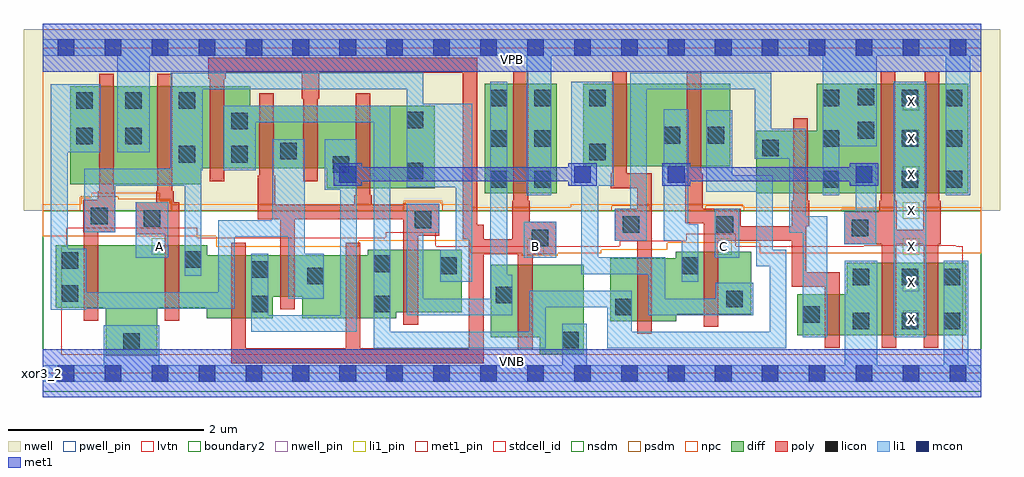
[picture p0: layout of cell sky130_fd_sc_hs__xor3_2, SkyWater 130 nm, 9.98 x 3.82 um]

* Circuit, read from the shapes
.subckt sky130_fd_sc_hs__xor3_2 A B C VGND VNB VPB VPWR X
XM1 VGND n1 n2 VNB sky130_fd_pr__nfet_01v8_lvt w=0.64 l=0.15
XM2 n1 A VGND VNB sky130_fd_pr__nfet_01v8_lvt w=0.64 l=0.15
XM3 n3 B n1 VNB sky130_fd_pr__nfet_01v8_lvt w=0.64 l=0.15
XM4 n2 n4 n3 VNB sky130_fd_pr__nfet_01v8_lvt w=0.42 l=0.15
XM5 n5 B n2 VNB sky130_fd_pr__nfet_01v8_lvt w=0.64 l=0.15
XM6 n1 n4 n5 VNB sky130_fd_pr__nfet_01v8_lvt w=0.64 l=0.15
XM7 VGND B n4 VNB sky130_fd_pr__nfet_01v8_lvt w=0.74 l=0.15
XM8 n6 n7 n5 VNB sky130_fd_pr__nfet_01v8_lvt w=0.64 l=0.15
XM9 n3 C n6 VNB sky130_fd_pr__nfet_01v8_lvt w=0.64 l=0.15
XM10 VGND C n7 VNB sky130_fd_pr__nfet_01v8_lvt w=0.42 l=0.15
XM11 X n6 VGND VNB sky130_fd_pr__nfet_01v8_lvt w=0.74 l=0.15 m=2
XM12 VPWR n1 n2 VPB sky130_fd_pr__pfet_01v8 w=1 l=0.15
XM13 n1 A VPWR VPB sky130_fd_pr__pfet_01v8 w=1 l=0.15
XM14 n5 B n1 VPB sky130_fd_pr__pfet_01v8 w=0.84 l=0.15
XM15 n2 n4 n5 VPB sky130_fd_pr__pfet_01v8 w=0.64 l=0.15
XM16 n3 B n2 VPB sky130_fd_pr__pfet_01v8 w=0.64 l=0.15
XM17 n1 n4 n3 VPB sky130_fd_pr__pfet_01v8 w=0.84 l=0.15
XM18 VPWR B n4 VPB sky130_fd_pr__pfet_01v8 w=1.12 l=0.15
XM19 n6 n7 n3 VPB sky130_fd_pr__pfet_01v8 w=0.84 l=0.15
XM20 n5 C n6 VPB sky130_fd_pr__pfet_01v8 w=0.84 l=0.15
XM21 VPWR C n7 VPB sky130_fd_pr__pfet_01v8 w=0.64 l=0.15
XM22 X n6 VPWR VPB sky130_fd_pr__pfet_01v8 w=1.12 l=0.15 m=2
.ends

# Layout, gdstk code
import gdstk
lib = gdstk.Library(unit=1e-6, precision=1e-09)
def R(c, l, rs):  # rectangles x0, y0, x1, y1
    for r in rs: c.add(gdstk.rectangle(r[:2], r[2:], *l))
def A(c, l, x, y, w, h, nx, ny, dx, dy):  # array of equal rectangles
    R(c, l, [(x+i*dx, y+j*dy, x+i*dx+w, y+j*dy+h) for i in range(nx) for j in range(ny)])
def P(c, l, *ps):  # polygons
    for p in ps: c.add(gdstk.Polygon(p, *l))
nwell_pin = (64, 16)
nwell = (64, 20)
diff = (65, 20)
poly = (66, 20)
licon = (66, 44)
li1_pin = (67, 16)
li1 = (67, 20)
mcon = (67, 44)
met1_pin = (68, 16)
met1 = (68, 20)
stdcell_id = (81, 4)
nsdm = (93, 44)
psdm = (94, 20)
npc = (95, 20)
pwell_pin = (122, 16)
lvtn = (125, 44)
boundary2 = (236, 0)

sky130_fd_sc_hs__xor3_2 = lib.new_cell('sky130_fd_sc_hs__xor3_2')
R(sky130_fd_sc_hs__xor3_2, nwell_pin, [(0,3.085,9.6,3.33)])
R(sky130_fd_sc_hs__xor3_2, nwell, [(-0.19,1.66,9.79,3.52)])
R(sky130_fd_sc_hs__xor3_2, diff, [(4.52,1.84,5.26,2.96), (5.53,2.12,7.03,2.96)])
P(sky130_fd_sc_hs__xor3_2, diff, [(4.01,2.735),(2.125,2.735),(2.125,2.935),(0.285,2.935),(0.285,1.935),(1.62,1.935),(1.62,2.095),(2.905,2.095),(2.905,1.895),(4.01,1.895)],
  [(4.285,1.265),(3.325,1.265),(3.325,1.205),(1.685,1.205),(1.685,1.31),(0.135,1.31),(0.135,0.67),(0.645,0.67),(0.645,0.18),(1.175,0.18),(1.175,0.67),(1.68,0.67),(1.68,0.565),(2.355,0.565),(2.355,0.785),(2.655,0.785),(2.655,0.565),(3.615,0.565),(3.615,0.625),(4.285,0.625)],
  [(5.535,1.11),(4.585,1.11),(4.585,0.37),(5.085,0.37),(5.085,0.195),(5.535,0.195)],
  [(7.245,1.245),(6.475,1.245),(6.475,1.175),(5.805,1.175),(5.805,0.535),(6.48,0.535),(6.48,0.605),(7.245,0.605)],
  [(9.445,1.13),(8.225,1.13),(8.225,0.81),(7.715,0.81),(7.715,0.39),(9.445,0.39)],
  [(9.465,2.96),(7.915,2.96),(7.915,2.48),(7.3,2.48),(7.3,1.84),(9.465,1.84)])
P(sky130_fd_sc_hs__xor3_2, poly, [(9.185,1.765),(9.17,1.765),(9.17,3.09),(9.02,3.09),(9.02,1.765),(9.005,1.765),(9.005,1.47),(8.735,1.47),(8.735,1.765),(8.72,1.765),(8.72,3.09),(8.57,3.09),(8.57,1.765),(8.555,1.765),(8.555,1.65),(8.195,1.65),(8.195,1.32),(8.58,1.32),(8.58,0.26),(8.73,0.26),(8.73,1.32),(9.01,1.32),(9.01,0.26),(9.16,0.26),(9.16,1.32),(9.185,1.32)],
  [(8.15,1.035),(7.81,1.035),(7.81,1.505),(7.84,1.505),(7.84,1.765),(7.825,1.765),(7.825,2.61),(7.675,2.61),(7.675,1.765),(7.66,1.765),(7.66,1.505),(7.14,1.505),(7.14,1.685),(6.75,1.685),(6.75,2.045),(6.735,2.045),(6.735,3.09),(6.585,3.09),(6.585,2.045),(6.57,2.045),(6.57,1.535),(6.76,1.535),(6.76,0.475),(6.91,0.475),(6.91,1.355),(7.66,1.355),(7.66,0.885),(8,0.885),(8,0.26),(8.15,0.26)],
  [(6.23,2.045),(5.975,2.045),(5.975,3.09),(5.825,3.09),(5.825,2.045),(5.81,2.045),(5.81,1.895),(6.08,1.895),(6.08,1.685),(5.85,1.685),(5.85,1.355),(6.08,1.355),(6.08,0.405),(6.23,0.405)],
  [(5.25,1.55),(4.98,1.55),(4.98,1.765),(4.965,1.765),(4.965,3.09),(4.815,3.09),(4.815,1.765),(4.8,1.765),(4.8,1.37),(4.51,1.37),(4.51,1.52),(4.445,1.52),(4.445,3.225),(1.695,3.225),(1.695,3.01),(1.71,3.01),(1.71,1.965),(1.86,1.965),(1.86,3.01),(1.875,3.01),(1.875,3.075),(2.65,3.075),(2.65,2.81),(2.665,2.81),(2.665,1.965),(2.815,1.965),(2.815,2.81),(2.83,2.81),(2.83,3.075),(4.295,3.075),(4.295,1.37),(4.36,1.37),(4.36,0.255),(3.25,0.255),(3.25,1.335),(3.1,1.335),(3.1,0.255),(2.08,0.255),(2.08,1.335),(1.93,1.335),(1.93,0.105),(4.51,0.105),(4.51,1.22),(4.86,1.22),(4.86,0.24),(5.01,0.24),(5.01,1.22),(5.25,1.22)],
  [(4.055,1.735),(3.69,1.735),(3.69,1.725),(3.365,1.725),(3.365,1.82),(3.35,1.82),(3.35,2.865),(3.2,2.865),(3.2,1.82),(3.185,1.82),(3.185,1.725),(2.38,1.725),(2.38,2.02),(2.365,2.02),(2.365,2.865),(2.215,2.865),(2.215,2.02),(2.2,2.02),(2.2,1.575),(2.43,1.575),(2.43,0.655),(2.58,0.655),(2.58,1.575),(3.69,1.575),(3.69,0.495),(3.84,0.495),(3.84,1.405),(4.055,1.405)],
  [(1.4,1.75),(1.34,1.75),(1.34,1.86),(1.325,1.86),(1.325,3.065),(1.175,3.065),(1.175,1.86),(1.16,1.86),(1.16,1.75),(0.955,1.75),(0.955,1.42),(1.25,1.42),(1.25,0.54),(1.4,0.54)],
  [(0.745,1.86),(0.73,1.86),(0.73,3.065),(0.58,3.065),(0.58,1.86),(0.565,1.86),(0.565,1.775),(0.415,1.775),(0.415,1.445),(0.42,1.445),(0.42,0.54),(0.57,0.54),(0.57,1.445),(0.745,1.445)])
A(sky130_fd_sc_hs__xor3_2, licon, 4.58, 1.9, 0.17, 0.17, 1, 3, 0, 0.415)
A(sky130_fd_sc_hs__xor3_2, licon, 5.03, 1.9, 0.17, 0.17, 1, 3, 0, 0.415)
A(sky130_fd_sc_hs__xor3_2, licon, 7.975, 1.9, 0.17, 0.17, 1, 3, 0, 0.415)
A(sky130_fd_sc_hs__xor3_2, licon, 8.785, 1.9, 0.17, 0.17, 1, 3, 0, 0.415)
A(sky130_fd_sc_hs__xor3_2, licon, 9.235, 1.9, 0.17, 0.17, 1, 3, 0, 0.415)
R(sky130_fd_sc_hs__xor3_2, licon, [(0.825,0.24,0.995,0.41), (5.315,0.255,5.485,0.425), (8.285,0.45,8.455,0.62), (8.785,0.45,8.955,0.62), (9.215,0.45,9.385,0.62), (7.775,0.515,7.945,0.685), (5.855,0.595,6.025,0.765), (2.135,0.625,2.305,0.795), (3.385,0.625,3.555,0.795), (6.99,0.675,7.16,0.845), (4.635,0.715,4.805,0.885), (0.195,0.73,0.365,0.9), (8.285,0.9,8.455,1.07), (8.785,0.9,8.955,1.07), (9.215,0.9,9.385,1.07), (2.705,0.91,2.875,1.08), (2.135,0.975,2.305,1.145), (4.065,1.015,4.235,1.185), (6.535,1.015,6.705,1.185), (3.385,1.035,3.555,1.205), (0.195,1.07,0.365,1.24), (1.455,1.08,1.625,1.25), (5,1.3,5.17,1.47), (8.275,1.4,8.445,1.57), (5.93,1.435,6.1,1.605), (6.89,1.435,7.06,1.605), (3.805,1.485,3.975,1.655), (1.035,1.5,1.205,1.67), (0.495,1.525,0.665,1.695), (3.725,1.985,3.895,2.155), (2.965,2.05,3.135,2.22), (1.39,2.155,1.56,2.325), (1.93,2.155,2.1,2.325), (5.59,2.18,5.76,2.35), (2.43,2.19,2.6,2.36), (7.36,2.22,7.53,2.39), (0.345,2.34,0.515,2.51), (0.845,2.34,1.015,2.51), (6.35,2.35,6.52,2.52), (6.8,2.35,6.97,2.52), (8.335,2.4,8.505,2.57), (1.93,2.495,2.1,2.665), (3.725,2.505,3.895,2.675), (0.345,2.705,0.515,2.875), (0.845,2.705,1.015,2.875), (1.39,2.705,1.56,2.875), (5.59,2.73,5.76,2.9), (8.335,2.74,8.505,2.91)])
A(sky130_fd_sc_hs__xor3_2, li1_pin, 4.955, 1.21, 0.17, 0.17, 3, 1, 1.92, 0)
A(sky130_fd_sc_hs__xor3_2, li1_pin, 8.795, 1.58, 0.17, 0.17, 1, 4, 0, 0.37)
R(sky130_fd_sc_hs__xor3_2, li1_pin, [(8.795,0.47,8.965,0.64), (8.795,0.84,8.965,1.01), (1.115,1.21,1.285,1.38)])
R(sky130_fd_sc_hs__xor3_2, li1, [(8.705,0.37,9.035,2.98), (0.955,1.18,1.285,1.75), (4.92,1.18,5.25,1.55), (6.875,1.18,7.125,1.685)])
P(sky130_fd_sc_hs__xor3_2, li1, [(0,-0.085),(0,0.085),(0.625,0.085),(0.625,0.49),(1.195,0.49),(1.195,0.085),(5.315,0.085),(5.315,0.505),(5.565,0.505),(5.565,0.085),(8.205,0.085),(8.205,1.15),(8.535,1.15),(8.535,0.085),(9.215,0.085),(9.215,1.15),(9.465,1.15),(9.465,0.085),(9.6,0.085),(9.6,-0.085)],
  [(9.6,3.415),(0,3.415),(0,3.245),(0.765,3.245),(0.765,2.26),(1.095,2.26),(1.095,3.245),(4.95,3.245),(4.95,1.82),(5.2,1.82),(5.2,3.245),(7.975,3.245),(7.975,1.82),(8.145,1.82),(8.145,2.32),(8.53,2.32),(8.53,3.245),(9.235,3.245),(9.235,1.82),(9.485,1.82),(9.485,3.245),(9.6,3.245)],
  [(3.895,3.075),(3.895,2.755),(4.395,2.755),(4.395,0.935),(4.065,0.935),(4.065,1.265),(4.225,1.265),(4.225,1.905),(3.725,1.905),(3.725,2.905),(1.64,2.905),(1.64,2.075),(1.625,2.075),(1.625,1),(1.455,1),(1.455,1.92),(0.745,1.92),(0.745,1.445),(0.425,1.445),(0.425,2.09),(1.31,2.09),(1.31,3.075)],
  [(0.085,2.955),(0.595,2.955),(0.595,2.26),(0.255,2.26),(0.255,1.275),(0.445,1.275),(0.445,0.83),(1.795,0.83),(1.795,1.565),(2.35,1.565),(2.35,2.395),(2.68,2.395),(2.68,1.225),(2.875,1.225),(2.875,0.765),(2.51,0.765),(2.51,1.395),(1.965,1.395),(1.965,0.66),(0.445,0.66),(0.445,0.65),(0.085,0.65)],
  [(6.195,0.595),(6.195,1.015),(5.51,1.015),(5.51,1.92),(5.405,1.92),(5.405,2.98),(5.84,2.98),(5.84,1.92),(5.68,1.92),(5.68,1.185),(6.365,1.185),(6.365,0.765),(6.885,0.765),(6.885,0.925),(7.265,0.925),(7.265,0.595)],
  [(3.045,0.595),(3.045,1.875),(2.885,1.875),(2.885,2.395),(3.215,2.395),(3.215,0.425),(2.135,0.425),(2.135,1.225),(2.305,1.225),(2.305,0.595)],
  [(6.6,1.525),(6.705,1.525),(6.705,0.935),(6.535,0.935),(6.535,1.355),(6.35,1.355),(6.35,2.7),(6.6,2.7)],
  [(3.555,2.735),(3.555,0.425),(4.975,0.425),(4.975,0.845),(6.025,0.845),(6.025,0.425),(7.435,0.425),(7.435,1.095),(7.295,1.095),(7.295,1.855),(6.785,1.855),(6.785,2.69),(7.05,2.69),(7.05,2.025),(7.465,2.025),(7.465,1.265),(7.605,1.265),(7.605,0.255),(5.775,0.255),(5.775,0.675),(5.145,0.675),(5.145,0.255),(3.385,0.255),(3.385,2.565),(2.18,2.565),(2.18,2.075),(1.85,2.075),(1.85,2.735)],
  [(6.01,3.075),(7.45,3.075),(7.45,2.5),(7.805,2.5),(7.805,1.605),(8.025,1.605),(8.025,0.37),(7.775,0.37),(7.775,1.435),(7.635,1.435),(7.635,2.195),(7.28,2.195),(7.28,2.905),(6.18,2.905),(6.18,1.355),(5.85,1.355),(5.85,1.685),(6.01,1.685)],
  [(4.58,2.98),(4.75,2.98),(4.75,1.01),(4.805,1.01),(4.805,0.595),(3.725,0.595),(3.725,1.735),(4.055,1.735),(4.055,1.435),(3.895,1.435),(3.895,0.765),(4.58,0.765)],
  [(8.315,1.65),(8.315,2.15),(8.525,2.15),(8.525,1.32),(8.195,1.32),(8.195,1.65)])
A(sky130_fd_sc_hs__xor3_2, mcon, 0.155, -0.085, 0.17, 0.17, 20, 2, 0.48, 3.33)
R(sky130_fd_sc_hs__xor3_2, mcon, [(3.035,1.95,3.205,2.12), (5.435,1.95,5.605,2.12), (6.395,1.95,6.565,2.12), (8.315,1.95,8.485,2.12)])
R(sky130_fd_sc_hs__xor3_2, met1_pin, [(0,0,9.6,0.245), (0,3.085,9.6,3.33)])
R(sky130_fd_sc_hs__xor3_2, met1, [(0,-0.245,9.6,0.245), (0,3.085,9.6,3.575)])
P(sky130_fd_sc_hs__xor3_2, met1, [(3.265,2.105),(5.375,2.105),(5.375,2.15),(5.665,2.15),(5.665,1.92),(5.375,1.92),(5.375,1.965),(3.265,1.965),(3.265,1.92),(2.975,1.92),(2.975,2.15),(3.265,2.15)],
  [(8.255,1.92),(8.255,1.965),(6.625,1.965),(6.625,1.92),(6.335,1.92),(6.335,2.15),(6.625,2.15),(6.625,2.105),(8.255,2.105),(8.255,2.15),(8.545,2.15),(8.545,1.92)])
R(sky130_fd_sc_hs__xor3_2, stdcell_id, [(0,0,9.6,3.33)])
R(sky130_fd_sc_hs__xor3_2, nsdm, [(0,-0.19,9.6,1.66)])
P(sky130_fd_sc_hs__xor3_2, psdm, [(9.6,3.52),(0,3.52),(0,1.66),(0.385,1.66),(0.385,1.805),(0.775,1.805),(0.775,1.78),(1.315,1.78),(1.315,1.66),(3.695,1.66),(3.695,1.765),(4.085,1.765),(4.085,1.66),(5.82,1.66),(5.82,1.715),(6.21,1.715),(6.21,1.66),(6.78,1.66),(6.78,1.715),(7.17,1.715),(7.17,1.66),(8.165,1.66),(8.165,1.68),(8.555,1.68),(8.555,1.66),(9.6,1.66)])
P(sky130_fd_sc_hs__xor3_2, npc, [(9.6,1.7),(7.16,1.7),(7.16,1.73),(5.4,1.73),(5.4,1.7),(4.38,1.7),(4.38,1.73),(4.075,1.73),(4.075,1.755),(3.705,1.755),(3.705,1.73),(1.305,1.73),(1.305,1.77),(1.2,1.77),(1.2,1.845),(0.5,1.845),(0.5,1.795),(0.395,1.795),(0.395,1.73),(0,1.73),(0,1.4),(1.775,1.4),(1.775,1.295),(3.235,1.295),(3.235,1.355),(4.375,1.355),(4.375,1.23),(4.9,1.23),(4.9,1.2),(5.27,1.2),(5.27,1.23),(5.715,1.23),(5.715,1.265),(6.385,1.265),(6.385,1.335),(7.335,1.335),(7.335,1.23),(9.6,1.23)])
R(sky130_fd_sc_hs__xor3_2, pwell_pin, [(0,0,9.6,0.245)])
P(sky130_fd_sc_hs__xor3_2, lvtn, [(9.41,1.3),(9.34,1.3),(9.34,1.31),(8.4,1.31),(8.4,1.3),(7.09,1.3),(7.09,1.425),(6.58,1.425),(6.58,1.355),(5.9,1.355),(5.9,1.3),(4.02,1.3),(4.02,1.445),(3.51,1.445),(3.51,1.385),(1.58,1.385),(1.58,1.49),(0.24,1.49),(0.24,1.3),(0.19,1.3),(0.19,0.19),(9.41,0.19)])
R(sky130_fd_sc_hs__xor3_2, boundary2, [(0,0,9.6,3.33)])
sky130_fd_sc_hs__xor3_2.add(gdstk.Label('xor3_2', (0,0), layer=83, texttype=44))
sky130_fd_sc_hs__xor3_2.add(gdstk.Label('VNB', (4.8,0.123), layer=64, texttype=59))
sky130_fd_sc_hs__xor3_2.add(gdstk.Label('VPB', (4.8,3.208), layer=64, texttype=5))
sky130_fd_sc_hs__xor3_2.add(gdstk.Label('VPWR', (4.8,3.208), layer=68, texttype=5))
sky130_fd_sc_hs__xor3_2.add(gdstk.Label('VGND', (4.8,0.123), layer=68, texttype=5))
sky130_fd_sc_hs__xor3_2.add(gdstk.Label('B', (5.04,1.295), layer=67, texttype=5))
sky130_fd_sc_hs__xor3_2.add(gdstk.Label('C', (6.96,1.295), layer=67, texttype=5))
sky130_fd_sc_hs__xor3_2.add(gdstk.Label('A', (1.2,1.295), layer=67, texttype=5))
sky130_fd_sc_hs__xor3_2.add(gdstk.Label('X', (8.88,0.555), layer=67, texttype=5))
sky130_fd_sc_hs__xor3_2.add(gdstk.Label('X', (8.88,0.925), layer=67, texttype=5))
sky130_fd_sc_hs__xor3_2.add(gdstk.Label('X', (8.88,1.295), layer=67, texttype=5))
sky130_fd_sc_hs__xor3_2.add(gdstk.Label('X', (8.88,1.665), layer=67, texttype=5))
sky130_fd_sc_hs__xor3_2.add(gdstk.Label('X', (8.88,2.035), layer=67, texttype=5))
sky130_fd_sc_hs__xor3_2.add(gdstk.Label('X', (8.88,2.405), layer=67, texttype=5))
sky130_fd_sc_hs__xor3_2.add(gdstk.Label('X', (8.88,2.775), layer=67, texttype=5))

lib.write_gds('sky130_fd_sc_hs__xor3_2.gds')
